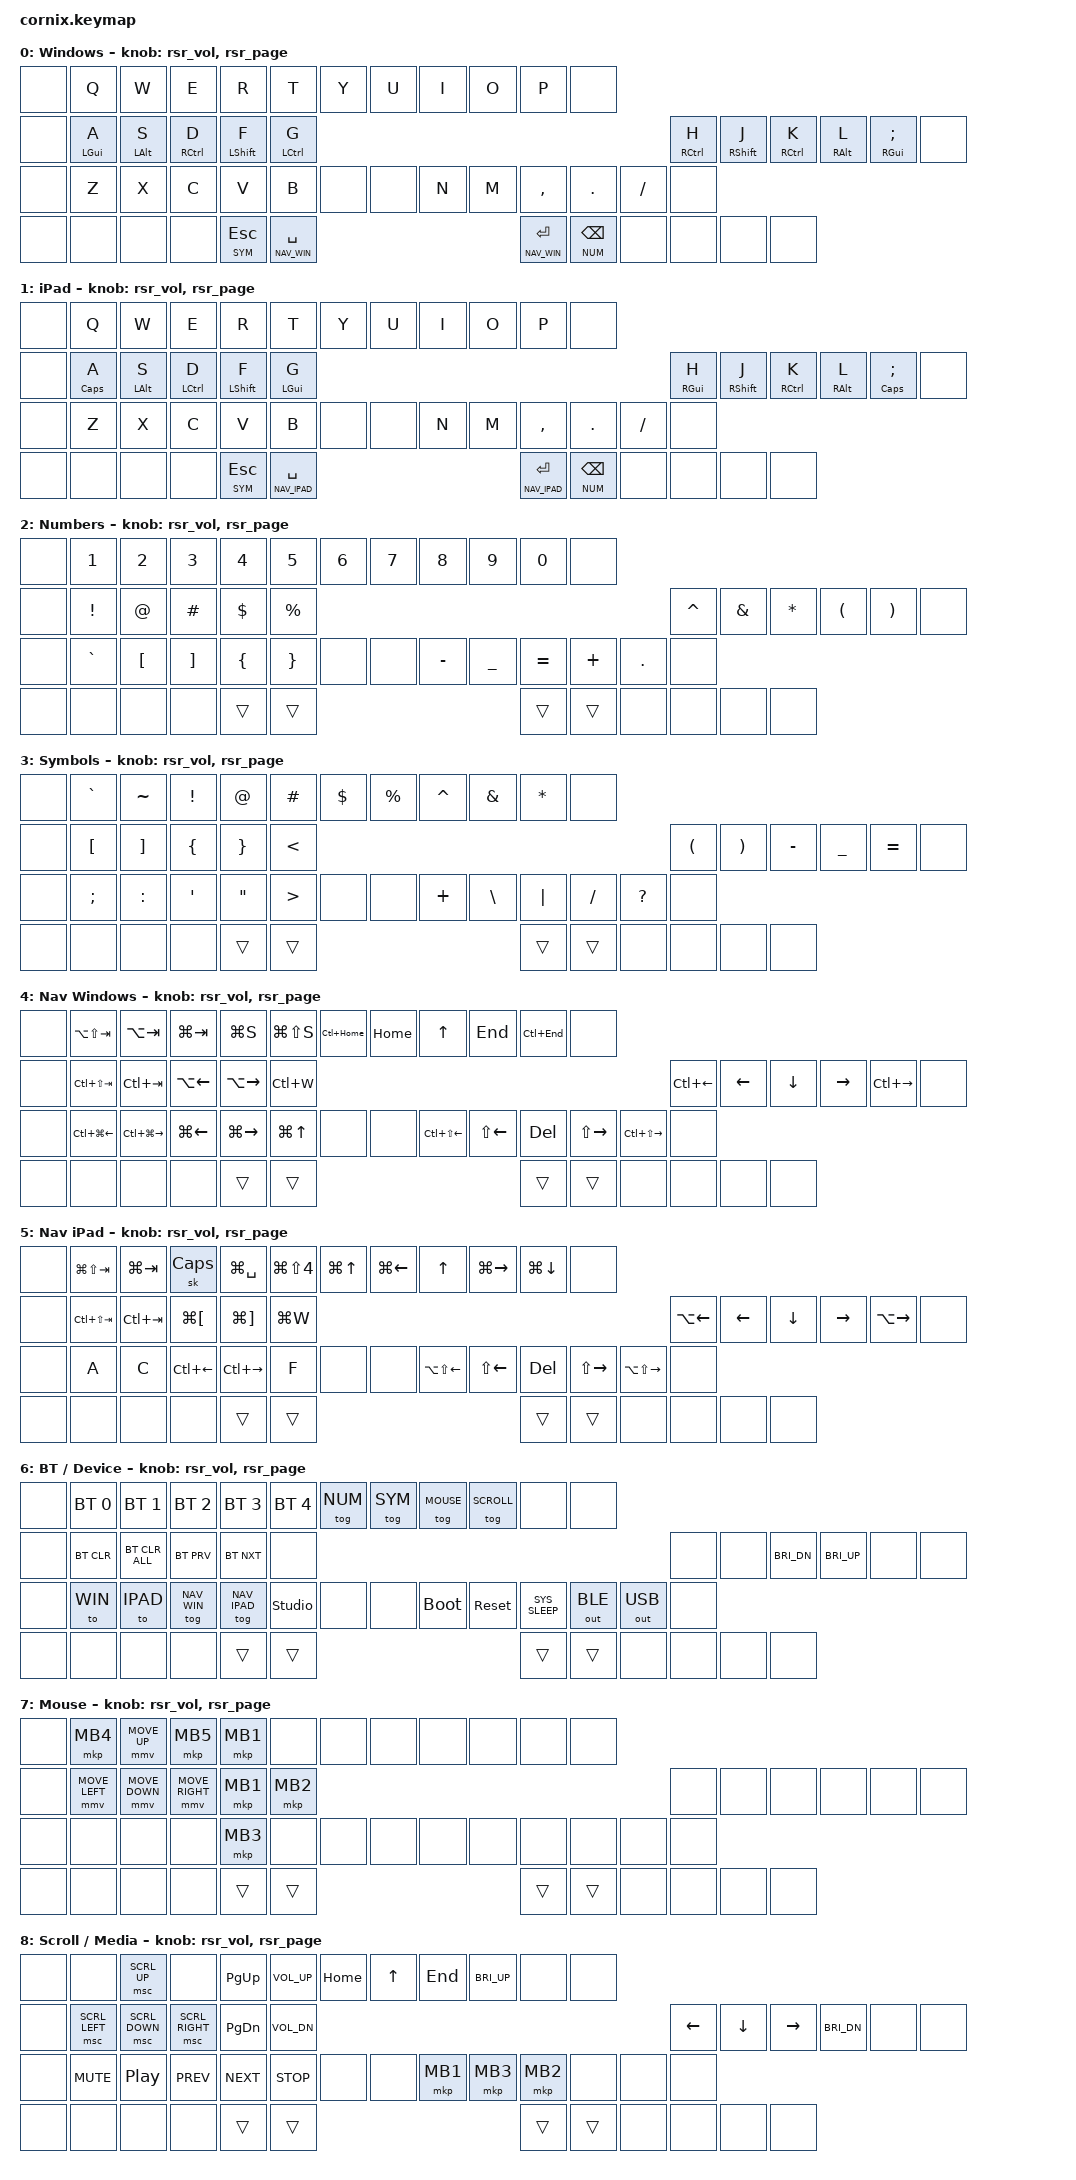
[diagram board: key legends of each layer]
/*
 * 34-key (3x5 + 2 thumbs per side) Windows/iPad keymap for Cornix.
 *
 * Key behaviors use stock ZMK behaviors. The only external behavior is
 * cormoran's Runtime Sensor Rotate, required for DYA Studio encoder editing.
 *
 * SPDX-License-Identifier: MIT
 */

#include "includes/cornix54.h"

#include <behaviors.dtsi>
#include <behaviors/runtime-sensor-rotate.dtsi>
#include <dt-bindings/zmk/bt.h>
#include <dt-bindings/zmk/keys.h>
#include <dt-bindings/zmk/outputs.h>

#define ZMK_POINTING_DEFAULT_SCRL_VAL 15
#include <dt-bindings/zmk/pointing.h>

#define WIN       0
#define IPAD      1
#define NUM       2
#define SYM       3
#define NAV_WIN   4
#define NAV_IPAD  5
#define DEVICE    6
#define MOUSE     7
#define SCROLL    8

/ {
    behaviors {
        /*
         * DYA Studio runtime encoder bindings. Runtime settings override these
         * defaults per layer and persist without rebuilding the firmware.
         */
        rsr_vol: rsr_vol {
            compatible = "zmk,behavior-runtime-sensor-rotate";
            #sensor-binding-cells = <0>;
            tap-ms = <5>;
            cw-binding = <&kp C_VOL_UP>;
            ccw-binding = <&kp C_VOL_DN>;
        };

        rsr_page: rsr_page {
            compatible = "zmk,behavior-runtime-sensor-rotate";
            #sensor-binding-cells = <0>;
            tap-ms = <5>;
            cw-binding = <&kp PG_UP>;
            ccw-binding = <&kp PG_DN>;
        };
    };

    combos {
        compatible = "zmk,combos";

        combo_eisu {
            timeout-ms = <60>;
            key-positions = <LH1 LH0>;
            layers = <WIN IPAD>;
            bindings = <&kp LANG2>;
        };

        combo_kana {
            timeout-ms = <60>;
            key-positions = <RH0 RH1>;
            layers = <WIN IPAD>;
            bindings = <&kp LANG1>;
        };

        combo_device {
            timeout-ms = <75>;
            key-positions = <LH0 RH0>;
            bindings = <&mo DEVICE>;
            slow-release;
        };

        combo_mouse {
            timeout-ms = <75>;
            key-positions = <LH1 RH1>;
            bindings = <&mo MOUSE>;
            slow-release;
        };

        /*
         * Direct Studio unlock from either base layer. This avoids entering the
         * DEVICE layer just to approve a DYA Studio secured RPC request.
         * LH1 = left outer thumb (Esc), RH0 = right inner thumb (Enter).
         */
        combo_studio_unlock {
            timeout-ms = <75>;
            key-positions = <LH1 RH0>;
            layers = <WIN IPAD>;
            bindings = <&studio_unlock>;
        };

        combo_tab {
            timeout-ms = <40>;
            require-prior-idle-ms = <100>;
            key-positions = <LB4 LB3>;
            layers = <WIN IPAD>;
            bindings = <&kp TAB>;
        };

        combo_delete {
            timeout-ms = <40>;
            require-prior-idle-ms = <100>;
            key-positions = <RB3 RB4>;
            layers = <WIN IPAD>;
            bindings = <&kp DEL>;
        };
    };

    keymap {
        compatible = "zmk,keymap";

        win_layer {
            display-name = "Windows";
            bindings = <
                &none  &kp Q  &kp W  &kp E  &kp R  &kp T  &kp Y  &kp U  &kp I  &kp O  &kp P  &none
                &none  &mt LGUI A  &mt LALT S  &mt RCTRL D  &mt LSHFT F  &mt LCTRL G  &mt RCTRL H  &mt RSHFT J  &mt RCTRL K  &mt RALT L  &mt RGUI SEMI  &none
                &none  &kp Z  &kp X  &kp C  &kp V  &kp B  &none  &none  &kp N  &kp M  &kp COMMA  &kp DOT  &kp FSLH  &none
                &none  &none  &none  &none  &lt SYM ESC  &lt NAV_WIN SPACE  &lt NAV_WIN ENTER  &lt NUM BSPC  &none  &none  &none  &none
            >;
            sensor-bindings = <&rsr_vol &rsr_page>;
        };

        ipad_layer {
            display-name = "iPad";
            bindings = <
                &none  &kp Q  &kp W  &kp E  &kp R  &kp T  &kp Y  &kp U  &kp I  &kp O  &kp P  &none
                &none  &mt CAPSLOCK A  &mt LALT S  &mt LCTRL D  &mt LSHFT F  &mt LGUI G  &mt RGUI H  &mt RSHFT J  &mt RCTRL K  &mt RALT L  &mt CAPSLOCK SEMI  &none
                &none  &kp Z  &kp X  &kp C  &kp V  &kp B  &none  &none  &kp N  &kp M  &kp COMMA  &kp DOT  &kp FSLH  &none
                &none  &none  &none  &none  &lt SYM ESC  &lt NAV_IPAD SPACE  &lt NAV_IPAD ENTER  &lt NUM BSPC  &none  &none  &none  &none
            >;
            sensor-bindings = <&rsr_vol &rsr_page>;
        };

        num_layer {
            display-name = "Numbers";
            bindings = <
                &none  &kp N1  &kp N2  &kp N3  &kp N4  &kp N5  &kp N6  &kp N7  &kp N8  &kp N9  &kp N0  &none
                &none  &kp EXCL  &kp AT  &kp HASH  &kp DLLR  &kp PRCNT  &kp CARET  &kp AMPS  &kp ASTRK  &kp LPAR  &kp RPAR  &none
                &none  &kp GRAVE  &kp LBKT  &kp RBKT  &kp LBRC  &kp RBRC  &none  &none  &kp MINUS  &kp UNDER  &kp EQUAL  &kp PLUS  &kp DOT  &none
                &none  &none  &none  &none  &trans  &trans  &trans  &trans  &none  &none  &none  &none
            >;
            sensor-bindings = <&rsr_vol &rsr_page>;
        };

        sym_layer {
            display-name = "Symbols";
            bindings = <
                &none  &kp GRAVE  &kp TILDE  &kp EXCL  &kp AT  &kp HASH  &kp DLLR  &kp PRCNT  &kp CARET  &kp AMPS  &kp ASTRK  &none
                &none  &kp LBKT  &kp RBKT  &kp LBRC  &kp RBRC  &kp LT  &kp LPAR  &kp RPAR  &kp MINUS  &kp UNDER  &kp EQUAL  &none
                &none  &kp SEMI  &kp COLON  &kp SQT  &kp DQT  &kp GT  &none  &none  &kp PLUS  &kp BSLH  &kp PIPE  &kp FSLH  &kp QUESTION  &none
                &none  &none  &none  &none  &trans  &trans  &trans  &trans  &none  &none  &none  &none
            >;
            sensor-bindings = <&rsr_vol &rsr_page>;
        };

        nav_win_layer {
            display-name = "Nav Windows";
            bindings = <
                &none  &kp LA(LS(TAB))  &kp LA(TAB)  &kp LG(TAB)  &kp LG(S)  &kp LG(LS(S))  &kp LC(HOME)  &kp HOME  &kp UP  &kp END  &kp LC(END)  &none
                &none  &kp LC(LS(TAB))  &kp LC(TAB)  &kp LA(LEFT)  &kp LA(RIGHT)  &kp LC(W)  &kp LC(LEFT)  &kp LEFT  &kp DOWN  &kp RIGHT  &kp LC(RIGHT)  &none
                &none  &kp LC(LG(LEFT))  &kp LC(LG(RIGHT))  &kp LG(LEFT)  &kp LG(RIGHT)  &kp LG(UP)  &none  &none  &kp LC(LS(LEFT))  &kp LS(LEFT)  &kp DEL  &kp LS(RIGHT)  &kp LC(LS(RIGHT))  &none
                &none  &none  &none  &none  &trans  &trans  &trans  &trans  &none  &none  &none  &none
            >;
            sensor-bindings = <&rsr_vol &rsr_page>;
        };

        nav_ipad_layer {
            display-name = "Nav iPad";
            /*
             * Globe is Caps Lock remapped by iPadOS. With stock key behaviors,
             * Globe shortcuts use a one-shot/sticky Globe key followed by the
             * target key. Example: Globe Once -> Up opens the app switcher view.
             */
            bindings = <
                &none  &kp LG(LS(TAB))  &kp LG(TAB)  &sk CAPSLOCK  &kp LG(SPACE)  &kp LG(LS(N4))  &kp LG(UP)  &kp LG(LEFT)  &kp UP  &kp LG(RIGHT)  &kp LG(DOWN)  &none
                &none  &kp LC(LS(TAB))  &kp LC(TAB)  &kp LG(LBKT)  &kp LG(RBKT)  &kp LG(W)  &kp LA(LEFT)  &kp LEFT  &kp DOWN  &kp RIGHT  &kp LA(RIGHT)  &none
                &none  &kp A  &kp C  &kp LC(LEFT)  &kp LC(RIGHT)  &kp F  &none  &none  &kp LA(LS(LEFT))  &kp LS(LEFT)  &kp DEL  &kp LS(RIGHT)  &kp LA(LS(RIGHT))  &none
                &none  &none  &none  &none  &trans  &trans  &trans  &trans  &none  &none  &none  &none
            >;
            sensor-bindings = <&rsr_vol &rsr_page>;
        };

        device_layer {
            display-name = "BT / Device";
            bindings = <
                &none  &bt BT_SEL 0  &bt BT_SEL 1  &bt BT_SEL 2  &bt BT_SEL 3  &bt BT_SEL 4  &tog NUM  &tog SYM  &tog MOUSE  &tog SCROLL  &none  &none
                &none  &bt BT_CLR  &bt BT_CLR_ALL  &bt BT_PRV  &bt BT_NXT  &none  &none  &none  &kp C_BRI_DN  &kp C_BRI_UP  &none  &none
                &none  &to WIN  &to IPAD  &tog NAV_WIN  &tog NAV_IPAD  &studio_unlock  &none  &none  &bootloader  &sys_reset  &kp SYS_SLEEP  &out OUT_BLE  &out OUT_USB  &none
                &none  &none  &none  &none  &trans  &trans  &trans  &trans  &none  &none  &none  &none
            >;
            sensor-bindings = <&rsr_vol &rsr_page>;
        };

        mouse_layer {
            display-name = "Mouse";
            bindings = <
                &none  &mkp MB4  &mmv MOVE_UP  &mkp MB5  &mkp MB1  &none  &none  &none  &none  &none  &none  &none
                &none  &mmv MOVE_LEFT  &mmv MOVE_DOWN  &mmv MOVE_RIGHT  &mkp MB1  &mkp MB2  &none  &none  &none  &none  &none  &none
                &none  &none  &none  &none  &mkp MB3  &none  &none  &none  &none  &none  &none  &none  &none  &none
                &none  &none  &none  &none  &trans  &trans  &trans  &trans  &none  &none  &none  &none
            >;
            sensor-bindings = <&rsr_vol &rsr_page>;
        };

        scroll_layer {
            display-name = "Scroll / Media";
            bindings = <
                &none  &none  &msc SCRL_UP  &none  &kp PG_UP  &kp C_VOL_UP  &kp HOME  &kp UP  &kp END  &kp C_BRI_UP  &none  &none
                &none  &msc SCRL_LEFT  &msc SCRL_DOWN  &msc SCRL_RIGHT  &kp PG_DN  &kp C_VOL_DN  &kp LEFT  &kp DOWN  &kp RIGHT  &kp C_BRI_DN  &none  &none
                &none  &kp C_MUTE  &kp C_PP  &kp C_PREV  &kp C_NEXT  &kp C_STOP  &none  &none  &mkp MB1  &mkp MB3  &mkp MB2  &none  &none  &none
                &none  &none  &none  &none  &trans  &trans  &trans  &trans  &none  &none  &none  &none
            >;
            sensor-bindings = <&rsr_vol &rsr_page>;
        };
    };
};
